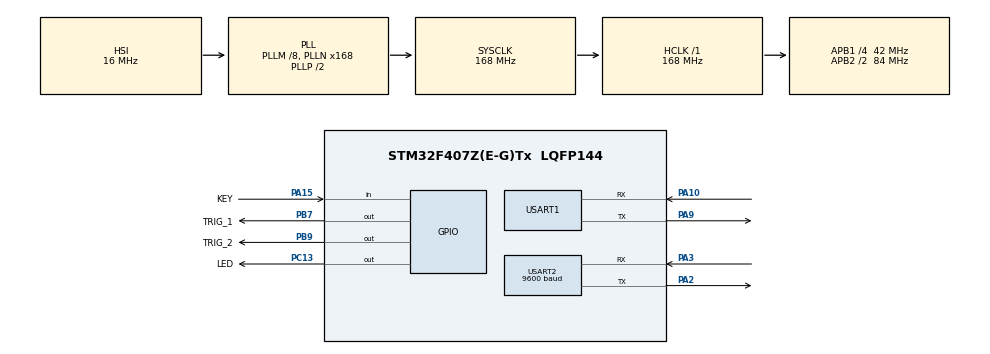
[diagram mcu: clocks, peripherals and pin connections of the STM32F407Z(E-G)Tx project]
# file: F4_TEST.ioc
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Mcu.Family=STM32F4
Mcu.Name=STM32F407Z(E-G)Tx
Mcu.Package=LQFP144
NVIC.PriorityGroup=NVIC_PRIORITYGROUP_4
NVIC.USART1_IRQn=true\:0\:0\:false\:false\:true\:true\:true\:true
NVIC.USART2_IRQn=true\:0\:0\:false\:false\:true\:true\:true\:true
PA10.Mode=Asynchronous
PA10.Signal=USART1_RX
PA13.Mode=Serial_Wire
PA13.Signal=SYS_JTMS-SWDIO
PA14.Mode=Serial_Wire
PA14.Signal=SYS_JTCK-SWCLK
PA15.GPIO_Label=KEY
PA15.GPIO_PuPd=GPIO_PULLUP
PA15.Signal=GPIO_Input
PA2.Mode=Asynchronous
PA2.Signal=USART2_TX
PA3.Mode=Asynchronous
PA3.Signal=USART2_RX
PA9.Mode=Asynchronous
PA9.Signal=USART1_TX
PB6.Signal=S_TIM4_CH1
PB7.GPIO_Label=TRIG_1
PB7.Signal=GPIO_Output
PB8.Signal=S_TIM10_CH1
PB9.GPIO_Label=TRIG_2
PB9.Signal=GPIO_Output
PC13-ANTI_TAMP.GPIO_Label=LED
PC13-ANTI_TAMP.PinState=GPIO_PIN_SET
PC13-ANTI_TAMP.Signal=GPIO_Output
PH0-OSC_IN.Mode=HSE-External-Oscillator
PH0-OSC_IN.Signal=RCC_OSC_IN
PH1-OSC_OUT.Mode=HSE-External-Oscillator
PH1-OSC_OUT.Signal=RCC_OSC_OUT
ProjectManager.HeapSize=0x200
ProjectManager.StackSize=0x400
ProjectManager.TargetToolchain=MDK-ARM V5.32
RCC.48MHZClocksFreq_Value=84000000
RCC.AHBFreq_Value=168000000
RCC.APB1CLKDivider=RCC_HCLK_DIV4
RCC.APB1Freq_Value=42000000
RCC.APB1TimFreq_Value=84000000
RCC.APB2CLKDivider=RCC_HCLK_DIV2
RCC.APB2Freq_Value=84000000
RCC.APB2TimFreq_Value=168000000
RCC.CortexFreq_Value=168000000
RCC.HCLKFreq_Value=168000000
RCC.HSE_VALUE=25000000
RCC.HSI_VALUE=16000000
RCC.LSE_VALUE=32768
RCC.PLLM=8
RCC.PLLN=168
RCC.RCC_RTC_Clock_Source=RCC_RTCCLKSOURCE_LSI
RCC.RCC_RTC_Clock_SourceVirtual=RCC_RTCCLKSOURCE_LSI
RCC.SYSCLKFreq_VALUE=168000000
RCC.SYSCLKSource=RCC_SYSCLKSOURCE_PLLCLK
RCC.VCOOutputFreq_Value=336000000
SH.S_TIM10_CH1.0=TIM10_CH1
SH.S_TIM4_CH1.0=TIM4_CH1
USART1.VirtualMode=VM_ASYNC
USART2.BaudRate=9600
USART2.VirtualMode=VM_ASYNC
board=custom

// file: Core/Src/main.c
/* USER CODE BEGIN Header */
/**
  ******************************************************************************
  * @file           : main.c
  * @brief          : Main program body
  ******************************************************************************
  * @attention
  *
  * Copyright (c) 2024 STMicroelectronics.
  * All rights reserved.
  *
  * This software is licensed under terms that can be found in the LICENSE file
  * in the root directory of this software component.
  * If no LICENSE file comes with this software, it is provided AS-IS.
  *
  ******************************************************************************
  */
/* USER CODE END Header */
#include "main.h"
#include "usart.h"
#include "gpio.h"

/* USER CODE BEGIN Includes */

#include "stdio.h"
#include "nano.h"
#include "speaker.h"
#include "TJC.h"
#include "delay.h"

extern  uint8_t _uart2_byte_buf;
extern  uint8_t _uart1_byte_buf;
extern  uint8_t get_all_point;
extern uint8_t Point_cnt;
extern vector2f FB_Point[];
extern GroundStation_To_TIVA_Target To_TIVA_Target;

/* USER CODE END Includes */

void SystemClock_Config(void);

int main(void)
{

  /* MCU Configuration--------------------------------------------------------*/

  /* Reset of all peripherals, Initializes the Flash interface and the Systick. */
  HAL_Init();

  /* Configure the system clock */
  SystemClock_Config();

  /* Initialize all configured peripherals */
  MX_GPIO_Init();
  MX_USART1_UART_Init();
  MX_USART2_UART_Init();
  /* USER CODE BEGIN 2 */

	delay_init(168);

	//UART2  (NANO)  ->蓝牙 HC05    :用于主控之间的无线通
	UART_Start_Receive_IT(&huart2,&_uart2_byte_buf,1);  //开启接收中断

	//UART1  (舵机)  -> TJC 串口屏   :用于显示航线 观察地面小动物的信息  和人工设置禁飞区的触摸按键接口
	UART_Start_Receive_IT(&huart1,&_uart1_byte_buf,1);  //开启接收中断

		HAL_Delay(2000);

  /* USER CODE END 2 */

  /* Infinite loop */
  while (1)
  {

    /* USER CODE BEGIN 3 */

			if(	1	/*get_all_point==1*/)
			{
					To_TIVA_Target.Fobidden_Rigion_Num=3;
					To_TIVA_Target.Fobidden_Rigion[0].A=0x01;
					To_TIVA_Target.Fobidden_Rigion[0].B=0x02;
					To_TIVA_Target.Fobidden_Rigion[1].A=0x03;
					To_TIVA_Target.Fobidden_Rigion[1].B=0x04;
					To_TIVA_Target.Fobidden_Rigion[2].A=0x05;
					To_TIVA_Target.Fobidden_Rigion[2].B=0x06;

					get_all_point=0;
//					for(int i=0;i<Point_cnt;i++)
//					{
//							To_TIVA_Target.Fobidden_Rigion[i].A=FB_Point[i].A;
//							To_TIVA_Target.Fobidden_Rigion[i].B=FB_Point[i].B;
//					}
	//				To_TIVA_Target.Fobidden_Rigion_Num=Point_cnt;
					GroundStation_Send_To_TIVA(&To_TIVA_Target);
					Point_cnt=0;

			}
//		HAL_GPIO_TogglePin(LED_GPIO_Port,LED_Pin);
		 HAL_Delay(5000);
//

  }
  /* USER CODE END 3 */
}

void SystemClock_Config(void)
{
  RCC_OscInitTypeDef RCC_OscInitStruct = {0};
  RCC_ClkInitTypeDef RCC_ClkInitStruct = {0};

  /** Configure the main internal regulator output voltage
  */
  __HAL_RCC_PWR_CLK_ENABLE();
  __HAL_PWR_VOLTAGESCALING_CONFIG(PWR_REGULATOR_VOLTAGE_SCALE1);

  /** Initializes the RCC Oscillators according to the specified parameters
  * in the RCC_OscInitTypeDef structure.
  */
  RCC_OscInitStruct.OscillatorType = RCC_OSCILLATORTYPE_HSI;
  RCC_OscInitStruct.HSIState = RCC_HSI_ON;
  RCC_OscInitStruct.HSICalibrationValue = RCC_HSICALIBRATION_DEFAULT;
  RCC_OscInitStruct.PLL.PLLState = RCC_PLL_ON;
  RCC_OscInitStruct.PLL.PLLSource = RCC_PLLSOURCE_HSI;
  RCC_OscInitStruct.PLL.PLLM = 8;
  RCC_OscInitStruct.PLL.PLLN = 168;
  RCC_OscInitStruct.PLL.PLLP = RCC_PLLP_DIV2;
  RCC_OscInitStruct.PLL.PLLQ = 4;
  if (HAL_RCC_OscConfig(&RCC_OscInitStruct) != HAL_OK)
  {
    Error_Handler();
  }

  /** Initializes the CPU, AHB and APB buses clocks
  */
  RCC_ClkInitStruct.ClockType = RCC_CLOCKTYPE_HCLK|RCC_CLOCKTYPE_SYSCLK
                              |RCC_CLOCKTYPE_PCLK1|RCC_CLOCKTYPE_PCLK2;
  RCC_ClkInitStruct.SYSCLKSource = RCC_SYSCLKSOURCE_PLLCLK;
  RCC_ClkInitStruct.AHBCLKDivider = RCC_SYSCLK_DIV1;
  RCC_ClkInitStruct.APB1CLKDivider = RCC_HCLK_DIV4;
  RCC_ClkInitStruct.APB2CLKDivider = RCC_HCLK_DIV2;

  if (HAL_RCC_ClockConfig(&RCC_ClkInitStruct, FLASH_LATENCY_5) != HAL_OK)
  {
    Error_Handler();
  }
}

/* USER CODE BEGIN 4 */

int fputc(int ch, FILE *f)
{
    HAL_StatusTypeDef status;

    // 检查 UART 状态，确保串口处于空闲状态
    if (HAL_UART_GetState(&huart1) == HAL_UART_STATE_READY ||
        HAL_UART_GetState(&huart1) == HAL_UART_STATE_BUSY_TX_RX)
    {
        status = HAL_UART_Transmit(&huart1, (uint8_t *)&ch, 1, 0xFFFF);

        // 检测传输是否成功
        if (status == HAL_OK)
        {
            return ch; // 传输成功，返回字符
        }
        else
        {
            // 传输失败处理，例如记录错误
            return EOF; // 返回错误状态
        }
    }
    else
    {
        // 串口未准备好，返回错误状态
        return EOF;
    }
}

/* USER CODE END 4 */

void Error_Handler(void)
{
  __disable_irq();
  while (1)
  {
  }
}
